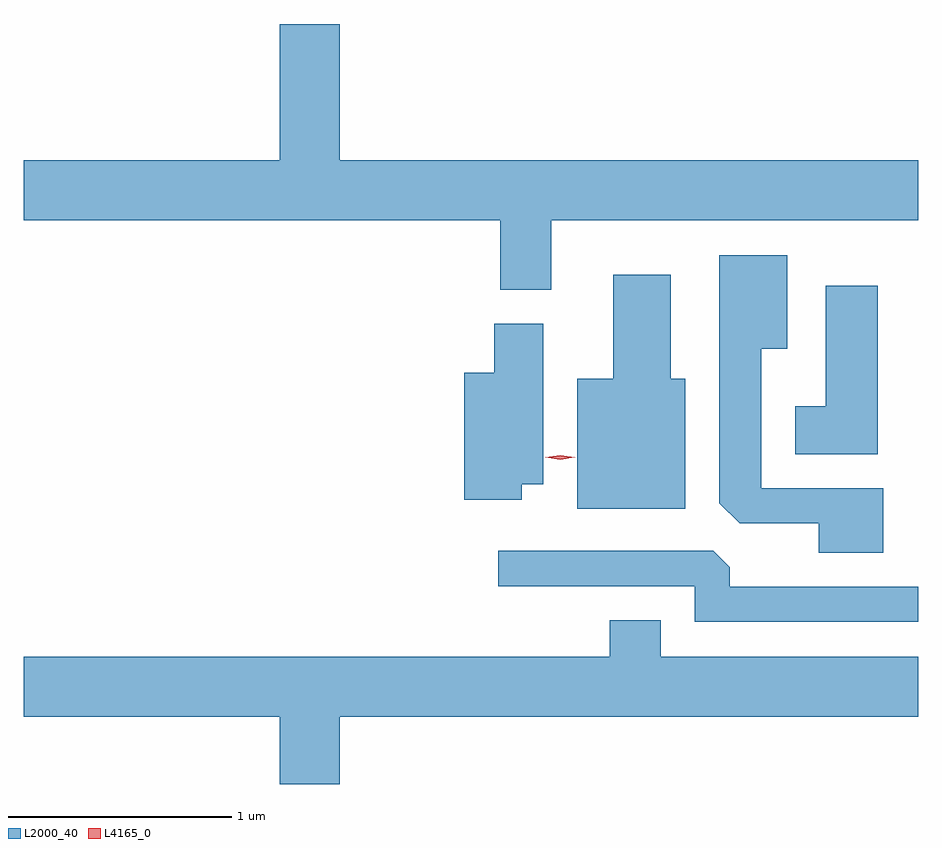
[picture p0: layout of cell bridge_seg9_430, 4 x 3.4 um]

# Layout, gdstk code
import gdstk
lib = gdstk.Library(unit=1e-6, precision=1e-09)
def P(c, l, *ps):  # polygons
    for p in ps: c.add(gdstk.Polygon(p, *l))
L2000_40 = (2000, 40)
L4165_0 = (4165, 0)

bridge_seg9_430 = lib.new_cell('bridge_seg9_430')
P(bridge_seg9_430, L2000_40, [(276.229,2042.876),(277.871,2042.876),(277.871,2043.144),(275.284,2043.144),(275.284,2043.754),(275.016,2043.754),(275.016,2043.144),(273.871,2043.144),(273.871,2042.876),(276.001,2042.876),(276.001,2042.566),(276.229,2042.566)],
  [(277.714,2041.679),(277.169,2041.679),(277.169,2042.301),(277.284,2042.301),(277.284,2042.719),(276.981,2042.719),(276.981,2041.612),(277.072,2041.521),(277.426,2041.521),(277.426,2041.391),(277.714,2041.391)],
  [(276.829,2042.169),(276.764,2042.169),(276.764,2042.634),(276.506,2042.634),(276.506,2042.169),(276.346,2042.169),(276.346,2041.586),(276.829,2041.586)],
  [(277.689,2042.584),(277.456,2042.584),(277.456,2042.044),(277.321,2042.044),(277.321,2041.831),(277.689,2041.831)],
  [(276.099,2041.696),(276.194,2041.696),(276.194,2042.414),(275.976,2042.414),(275.976,2042.194),(275.841,2042.194),(275.841,2041.626),(276.099,2041.626)],
  [(277.871,2041.239),(277.029,2041.239),(277.029,2041.324),(276.954,2041.399),(275.993,2041.399),(275.993,2041.241),(276.871,2041.241),(276.871,2041.081),(277.871,2041.081)],
  [(275.284,2040.656),(277.871,2040.656),(277.871,2040.924),(276.719,2040.924),(276.719,2041.089),(276.491,2041.089),(276.491,2040.924),(273.871,2040.924),(273.871,2040.656),(275.016,2040.656),(275.016,2040.356),(275.284,2040.356)])
P(bridge_seg9_430, L4165_0, [(276.269,2041.806),(276.203,2041.816),(276.203,2041.816),(276.203,2041.817),(276.269,2041.826),(276.335,2041.817),(276.336,2041.816),(276.335,2041.816)])

lib.write_gds('bridge_seg9_430.gds')
